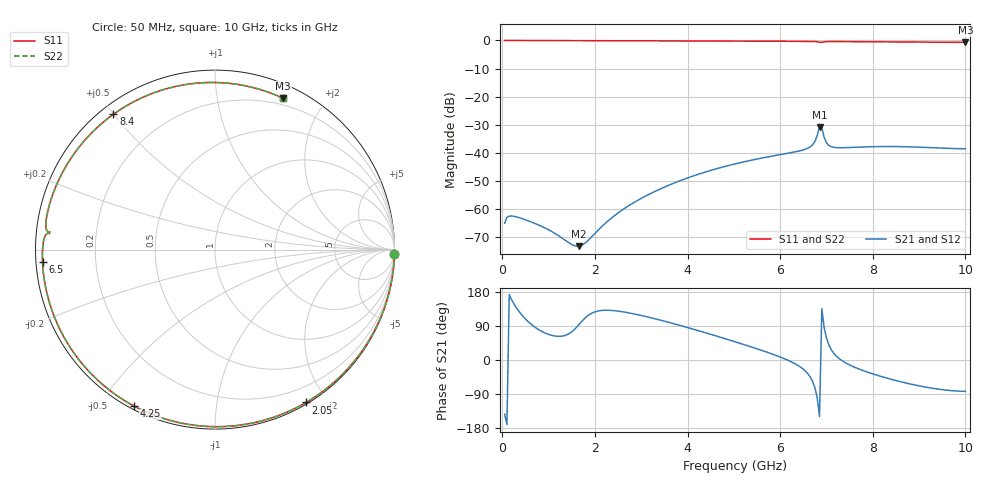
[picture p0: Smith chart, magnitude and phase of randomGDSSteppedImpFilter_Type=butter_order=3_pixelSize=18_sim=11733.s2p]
! freq	dB(S11)	phase(S11)	dB(S12)	phase(S12)
!  dB(S21)	phase(S21)	dB(S22)	phase(S22)
!S-par simulation data
#  GHz  S  DB  R 50
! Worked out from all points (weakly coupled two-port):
!   200 points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, 50 MHz to 10 GHz, reference 50 ohm
!   highest |S21| = -30.78 dB at 6.85 GHz (marker M1); lowest = -73.2 dB at 1.65 GHz (marker M2)
!   lowest |S11| = -0.7 dB at 10 GHz (marker M3), VSWR 25.45, Z = 6.64 + j76.9 ohm
!   |S11| at or under -10 dB: nowhere
!   |S22| runs from -0.7 to 0.0 dB; largest |S21 - S12| = 0
!   S11 on the Smith chart (normalised r, x): 50 MHz: 0, -77; 2.05 GHz: 0.02, -1.76; 4.25 GHz: 0.01, -0.61; 6.5 GHz: 0.02, -0.04; 8.4 GHz: 0.04, +0.50; 10 GHz: 0.13, +1.54
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0.05  -0.00 -1.5  -65.04 -142.6  -65.04 -142.6  -0.00 -1.5
0.15  -0.00 -4.5  -62.51 172.4  -62.51 172.4  -0.00 -4.5
0.35  -0.01 -10.4  -62.98 129.9  -62.98 129.9  -0.01 -10.4
1.65  -0.06 -48.0  -73.20 92.8  -73.20 92.8  -0.06 -48.0
1.75  -0.06 -50.8  -72.54 106.4  -72.54 106.4  -0.06 -50.8
2.05  -0.08 -59.2  -67.82 128.8  -67.82 128.8  -0.08 -59.2
2.65  -0.10 -75.6  -59.65 126.2  -59.65 126.2  -0.10 -75.6
3.4  -0.12 -95.4  -52.92 105.6  -52.92 105.6  -0.12 -95.4
4.25  -0.16 -117.3  -47.52 76.9  -47.52 76.9  -0.16 -117.3
5.05  -0.21 -137.6  -43.83 47.2  -43.83 47.2  -0.21 -137.6
6.5  -0.32 -175.8  -38.94 -24.3  -38.94 -24.3  -0.32 -175.8
6.7  -0.36 178.4  -37.12 -56.5  -37.12 -56.5  -0.36 178.3
6.8  -0.46 175.1  -33.85 -99.7  -33.85 -99.7  -0.47 175.0
6.85  -0.67 173.8  -30.78 -149.5  -30.78 -149.5  -0.67 173.8
6.9  -0.66 174.5  -31.17 135.2  -31.17 135.2  -0.66 174.5
7  -0.42 171.5  -36.38 57.9  -36.38 57.9  -0.42 171.4
7.1  -0.39 168.3  -37.78 28.0  -37.78 28.0  -0.39 168.2
7.75  -0.44 148.3  -37.92 -26.1  -37.92 -26.1  -0.44 148.2
8.35  -0.51 128.6  -37.74 -49.3  -37.74 -49.3  -0.51 128.5
8.4  -0.51 126.9  -37.74 -51.0  -37.74 -51.0  -0.51 126.8
9.25  -0.60 95.9  -38.14 -73.8  -38.14 -73.8  -0.60 95.8
10  -0.68 65.8  -38.52 -82.8  -38.52 -82.8  -0.68 65.6
